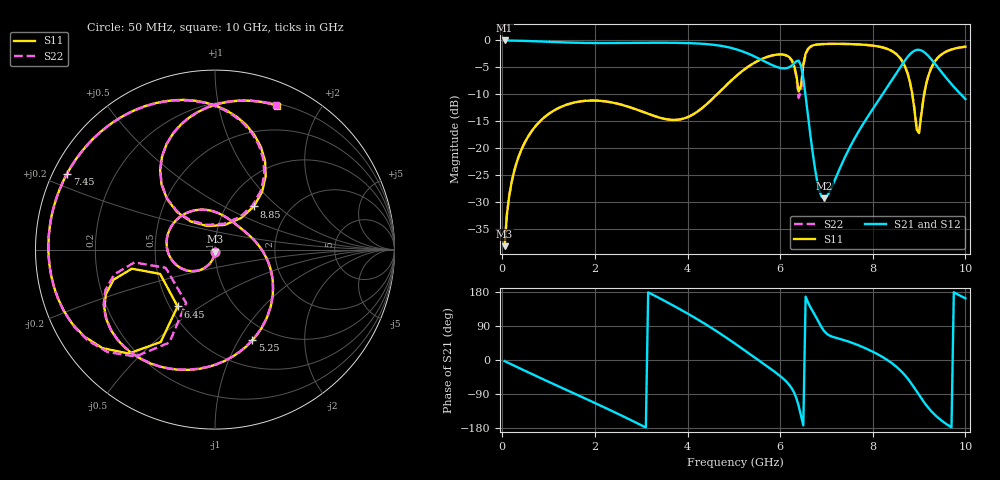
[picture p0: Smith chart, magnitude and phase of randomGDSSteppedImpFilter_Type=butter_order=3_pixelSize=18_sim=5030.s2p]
! freq	dB(S11)	phase(S11)	dB(S12)	phase(S12)
!  dB(S21)	phase(S21)	dB(S22)	phase(S22)
!S-par simulation data
#  GHz  S  DB  R 50
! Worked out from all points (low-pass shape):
!   200 points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, 50 MHz to 10 GHz, reference 50 ohm
!   highest |S21| = -0.01 dB at 50 MHz (marker M1); lowest = -29.3 dB at 6.95 GHz (marker M2)
!   |S21| within 3 dB of the highest: start of sweep to 5.453 GHz; 8.76 GHz to 9.212 GHz (452.8 MHz wide, 5.04 % of centre)
!   lowest |S11| = -38.2 dB at 50 MHz (marker M3), VSWR 1.02, Z = 49.9 - j1.22 ohm
!   |S11| at or under -10 dB: start of sweep to 4.64 GHz; 8.853 GHz to 9.111 GHz (257.7 MHz wide, 2.87 % of centre)
!   |S22| runs from -38.2 to -0.6 dB; largest |S21 - S12| = 0
!   S11 on the Smith chart (normalised r, x): 50 MHz: 1.00, -0.02; 5.25 GHz: 0.79, -1.15; 6.45 GHz: 0.55, -0.41; 7.45 GHz: 0.04, +0.24; 8.85 GHz: 1.33, +0.71; 10 GHz: 0.22, +1.50
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0.05  -38.22 -92.0  -0.01 -3.0  -0.01 -3.0  -38.22 -92.0
0.2  -26.40 -102.0  -0.03 -11.7  -0.03 -11.7  -26.40 -101.9
0.5  -18.74 -119.4  -0.09 -29.0  -0.09 -29.0  -18.74 -119.3
1.75  -11.26 169.9  -0.46 -99.4  -0.46 -99.4  -11.26 170.0
2.7  -12.26 115.6  -0.46 -153.9  -0.46 -153.9  -12.26 115.7
3.4  -14.36 72.3  -0.42 162.8  -0.42 162.8  -14.36 72.5
4.3  -12.67 10.0  -0.61 101.1  -0.61 101.1  -12.67 10.0
5.05  -6.63 -50.4  -1.65 41.1  -1.65 41.1  -6.63 -50.5
5.25  -5.25 -67.6  -2.25 23.9  -2.25 23.9  -5.25 -67.8
5.75  -2.97 -110.7  -4.27 -19.5  -4.27 -19.5  -2.98 -111.1
6.15  -2.84 -146.8  -5.13 -59.1  -5.13 -59.1  -2.88 -148.0
6.35  -6.46 -167.1  -3.87 -100.6  -3.87 -100.6  -6.84 -170.9
6.45  -8.42 -123.3  -4.68 -147.1  -4.68 -147.1  -9.41 -118.4
6.55  -2.47 -129.7  -10.38 167.2  -10.38 167.2  -2.59 -126.6
6.7  -0.95 -152.6  -20.70 129.4  -20.70 129.4  -0.97 -151.0
6.95  -0.66 -174.9  -29.35 76.4  -29.35 76.4  -0.67 -173.8
7.45  -0.66 152.8  -20.78 49.7  -20.78 49.7  -0.66 153.5
8.35  -1.70 93.9  -8.22 -3.0  -8.22 -3.0  -1.70 94.7
8.85  -9.82 48.0  -2.20 -64.9  -2.20 -64.9  -9.75 49.6
9  -17.22 108.0  -1.74 -92.3  -1.74 -92.3  -16.83 107.6
9.25  -5.39 124.6  -3.37 -133.2  -3.37 -133.2  -5.37 124.6
10  -1.17 66.6  -10.90 162.9  -10.90 162.9  -1.17 66.9
